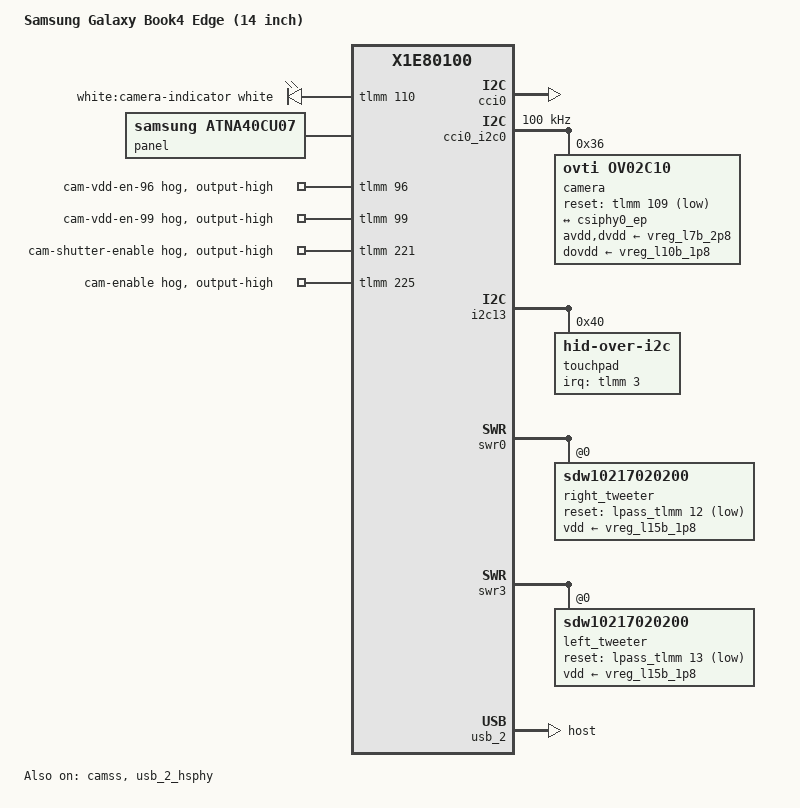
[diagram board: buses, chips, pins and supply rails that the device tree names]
// SPDX-License-Identifier: BSD-3-Clause

/dts-v1/;

#include <dt-bindings/leds/common.h>

#include "x1e-samsung-galaxy-book4-edge.dtsi"

/ {
	model = "Samsung Galaxy Book4 Edge (14 inch)";
	compatible = "samsung,galaxy-book4-edge-14", "samsung,galaxy-book4-edge",
		     "qcom,x1e80100";

	camera-leds {
		compatible = "gpio-leds";

		pinctrl-0 = <&cam_indicator_en>;
		pinctrl-names = "default";

		cam_privacy_led: led-camera-indicator {
			label = "white:camera-indicator";
			function = LED_FUNCTION_INDICATOR;
			color = <LED_COLOR_ID_WHITE>;
			gpios = <&tlmm 110 GPIO_ACTIVE_HIGH>;
			default-state = "off";
		};
	};
};

&camss {
	vdd-csiphy-0p8-supply = <&vreg_l2c_0p8>;
	vdd-csiphy-1p2-supply = <&vreg_l1c_1p2>;

	status = "okay";

	ports {
		port@0 {
			csiphy0_ep: endpoint {
				data-lanes = <0 1>;
				remote-endpoint = <&ov02c10_ep>;
			};
		};
	};
};

&cci0 {
	status = "okay";
};

&cci0_i2c0 {
	clock-frequency = <100000>;

	camera@36 {
		compatible = "ovti,ov02c10";
		reg = <0x36>;

		reset-gpios = <&tlmm 109 GPIO_ACTIVE_LOW>;
		pinctrl-0 = <&cam_rgb_default>;
		pinctrl-names = "default";

		clocks = <&camcc CAM_CC_MCLK4_CLK>;
		assigned-clocks = <&camcc CAM_CC_MCLK4_CLK>;
		assigned-clock-rates = <19200000>;

		avdd-supply = <&vreg_l7b_2p8>;
		dvdd-supply = <&vreg_l7b_2p8>;
		dovdd-supply = <&vreg_l10b_1p8>;

		leds = <&cam_privacy_led>;
		led-names = "privacy";

		orientation = <0>; /* front */
		rotation = <180>;

		port {
			ov02c10_ep: endpoint {
				data-lanes = <1 2>;
				link-frequencies = /bits/ 64 <400000000>;
				remote-endpoint = <&csiphy0_ep>;
			};
		};
	};
};

&{/sound} {
	audio-routing = "SpkrRight IN", "WSA WSA_SPK1 OUT",
			"TweeterRight IN", "WSA WSA_SPK2 OUT",
			"SpkrLeft IN", "WSA2 WSA_SPK1 OUT",
			"TweeterLeft IN", "WSA2 WSA_SPK2 OUT",
			"IN1_HPHL", "HPHL_OUT",
			"IN2_HPHR", "HPHR_OUT",
			"AMIC2", "MIC BIAS2",
			"VA DMIC0", "MIC BIAS3",
			"VA DMIC1", "MIC BIAS3",
			"VA DMIC2", "MIC BIAS1",
			"VA DMIC3", "MIC BIAS1",
			"TX SWR_INPUT1", "ADC2_OUTPUT";
};

&{/sound/wsa-dai-link/codec} {
	sound-dai = <&left_spkr 0>, <&right_tweeter 0>, <&swr0 0>, <&lpass_wsamacro 0>,
		    <&right_spkr 0>, <&left_tweeter 0>, <&swr3 0>, <&lpass_wsa2macro 0>;
};

/*
 * VI (voltage and current) feedback from the four amplifiers, for speaker
 * protection. Each bus brings back two amps' VISENSE ports on its two VI
 * input ports (10, 11) through the macro's VI interface; both macros feed one
 * DSP codec DMA port, as in Windows' graph (where the DSP side uses both WSA
 * interfaces). Layout from Qualcomm's glymur-crd link (kernel-topics PR #2104).
 */
&{/sound} {
	vi-feedback-dai-link {
		link-name = "CODEC_DMA-LPAIF_WSA-TX-0";

		cpu {
			sound-dai = <&q6apmbedai WSA_CODEC_DMA_TX_0>;
		};

		codec {
			sound-dai = <&left_spkr 1>, <&right_tweeter 1>,
				    <&swr0 9>, <&swr0 10>,
				    <&lpass_wsamacro 2>,
				    <&right_spkr 1>, <&left_tweeter 1>,
				    <&swr3 9>, <&swr3 10>,
				    <&lpass_wsa2macro 2>;
		};

		platform {
			sound-dai = <&q6apm>;
		};
	};
};

&i2c13 {
	touchpad@40 {
		compatible = "hid-over-i2c";
		reg = <0x40>;

		hid-descr-addr = <0xe>;
		interrupts-extended = <&tlmm 3 IRQ_TYPE_LEVEL_LOW>;

		pinctrl-0 = <&tpad_default>;
		pinctrl-names = "default";
	};
};

&panel {
	compatible = "samsung,atna40cu07", "samsung,atna33xc20";
};

&tlmm {
	/* Raised before the sensor is reset (Windows CAMF_RES_QRD.bin: 99, then 96) */
	cam-vdd-en-96-hog {
		gpio-hog;
		gpios = <96 GPIO_ACTIVE_HIGH>;
		output-high;
		line-name = "cam-vdd-en-96";
	};

	cam-vdd-en-99-hog {
		gpio-hog;
		gpios = <99 GPIO_ACTIVE_HIGH>;
		output-high;
		line-name = "cam-vdd-en-99";
	};

	cam-shutter-hog {
		gpio-hog;
		gpios = <221 GPIO_ACTIVE_HIGH>;
		output-high;
		line-name = "cam-shutter-enable";
	};

	cam-enable-hog {
		gpio-hog;
		gpios = <225 GPIO_ACTIVE_HIGH>;
		output-high;
		line-name = "cam-enable";
	};

	cam_indicator_en: cam-indicator-en-state {
		pins = "gpio110";
		function = "gpio";
		drive-strength = <2>;
		bias-disable;
	};

	cam_rgb_default: cam-rgb-default-state {
		mclk-pins {
			pins = "gpio100";
			function = "cam_aon";
			drive-strength = <16>;
			bias-disable;
		};

		reset-n-pins {
			pins = "gpio109";
			function = "gpio";
			drive-strength = <2>;
			bias-disable;
		};
	};
};

&swr0 {
	/* WSA8835 tweeter, right side; macro output SPK2 (RX1) */
	right_tweeter: speaker@0,1 {
		compatible = "sdw10217020200";
		reg = <0 1>;
		reset-gpios = <&lpass_tlmm 12 GPIO_ACTIVE_LOW>;
		#sound-dai-cells = <1>;
		#thermal-sensor-cells = <0>;
		sound-name-prefix = "TweeterRight";
		vdd-supply = <&vreg_l15b_1p8>;
		qcom,port-mapping = <4 5 6 11>;
	};
};

&swr3 {
	/* WSA8835 tweeter, left side; macro output SPK2 (RX1) */
	left_tweeter: speaker@0,1 {
		compatible = "sdw10217020200";
		reg = <0 1>;
		reset-gpios = <&lpass_tlmm 13 GPIO_ACTIVE_LOW>;
		#sound-dai-cells = <1>;
		#thermal-sensor-cells = <0>;
		sound-name-prefix = "TweeterLeft";
		vdd-supply = <&vreg_l15b_1p8>;
		qcom,port-mapping = <4 5 6 11>;
	};
};

/* Fingerprint reader (EgisTec 1c7a:05a1) on usb_2. */
&usb_2 {
	dr_mode = "host";

	status = "okay";
};

&usb_2_hsphy {
	vdd-supply = <&vreg_l2e_0p8>;
	vdda12-supply = <&vreg_l3e_1p2>;

	phys = <&eusb6_repeater>;

	status = "okay";
};

/*
 * The woofer names in the shared dtsi are swapped on this model: the
 * amplifier on SoundWire 0 (WSA macro) drives the right woofer, the one on
 * SoundWire 3 (WSA2 macro) the left woofer, next to the tweeters of the same
 * side. Name them by side, like the tweeters. The labels stay as in the dtsi.
 */
&left_spkr {
	sound-name-prefix = "SpkrRight";
};

&right_spkr {
	sound-name-prefix = "SpkrLeft";
};

/*
 * Only the eUSB2 repeater at 0x4f (usb_2, the fingerprint reader) exists on
 * this model; the firmware describes nothing at 0x43.
 */
&eusb5_repeater {
	status = "disabled";
};
